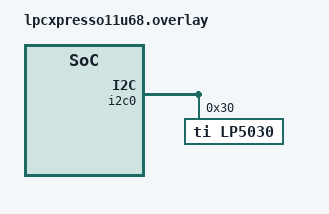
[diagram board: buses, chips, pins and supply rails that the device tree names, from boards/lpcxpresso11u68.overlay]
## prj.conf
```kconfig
CONFIG_LOG=y

CONFIG_I2C=y

CONFIG_LED=y
CONFIG_LP50XX=y
```

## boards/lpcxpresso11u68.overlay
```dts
/*
 * Copyright (c) 2020 Seagate Technology LLC
 *
 * SPDX-License-Identifier: Apache-2.0
 */

#include <zephyr/dt-bindings/led/led.h>

&i2c0 {
	/* TI LP5030 LED controller connected to I2C0. */
	lp5030@30 {
		compatible = "ti,lp5030", "ti,lp50xx";
		reg = <0x30>;
		label = "LP5030";

		led_0 {
			label = "LED LP5030 0";
			index = <0>;
			color-mapping =
				<LED_COLOR_ID_RED>,
				<LED_COLOR_ID_GREEN>,
				<LED_COLOR_ID_BLUE>;
		};
		led_1 {
			label = "LED LP5030 1";
			index = <1>;
			color-mapping =
				<LED_COLOR_ID_RED>,
				<LED_COLOR_ID_GREEN>,
				<LED_COLOR_ID_BLUE>;
		};
		led_2 {
			label = "LED LP5030 2";
			index = <2>;
			color-mapping =
				<LED_COLOR_ID_RED>,
				<LED_COLOR_ID_GREEN>,
				<LED_COLOR_ID_BLUE>;
		};
		led_3 {
			label = "LED LP5030 3";
			index = <3>;
			color-mapping =
				<LED_COLOR_ID_RED>,
				<LED_COLOR_ID_GREEN>,
				<LED_COLOR_ID_BLUE>;
		};
		led_4 {
			label = "LED LP5030 4";
			index = <4>;
			color-mapping =
				<LED_COLOR_ID_RED>,
				<LED_COLOR_ID_GREEN>,
				<LED_COLOR_ID_BLUE>;
		};
		led_5 {
			label = "LED LP5030 5";
			index = <5>;
			color-mapping =
				<LED_COLOR_ID_RED>,
				<LED_COLOR_ID_GREEN>,
				<LED_COLOR_ID_BLUE>;
		};
		led_6 {
			label = "LED LP5030 6";
			index = <6>;
			color-mapping =
				<LED_COLOR_ID_RED>,
				<LED_COLOR_ID_GREEN>,
				<LED_COLOR_ID_BLUE>;
		};
		led_7 {
			label = "LED LP5030 7";
			index = <7>;
			color-mapping =
				<LED_COLOR_ID_RED>,
				<LED_COLOR_ID_GREEN>,
				<LED_COLOR_ID_BLUE>;
		};
		led_8 {
			label = "LED LP5030 8";
			index = <8>;
			color-mapping =
				<LED_COLOR_ID_RED>,
				<LED_COLOR_ID_GREEN>,
				<LED_COLOR_ID_BLUE>;
		};
		led_9 {
			label = "LED LP5030 9";
			index = <9>;
			color-mapping =
				<LED_COLOR_ID_RED>,
				<LED_COLOR_ID_GREEN>,
				<LED_COLOR_ID_BLUE>;
		};
	};
};
```

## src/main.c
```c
/*
 * Copyright (c) 2020 Seagate Technology LLC
 *
 * SPDX-License-Identifier: Apache-2.0
 */

#include <zephyr/device.h>
#include <errno.h>
#include <zephyr/drivers/led.h>
#include <zephyr/drivers/led/lp50xx.h>
#include <zephyr/sys/util.h>
#include <zephyr/zephyr.h>

#define LOG_LEVEL CONFIG_LOG_DEFAULT_LEVEL
#include <zephyr/logging/log.h>
LOG_MODULE_REGISTER(main);

#define MAX_BRIGHTNESS	100

#define SLEEP_DELAY_MS	1000
#define FADE_DELAY_MS	10

#define FADE_DELAY	K_MSEC(FADE_DELAY_MS)
#define SLEEP_DELAY	K_MSEC(SLEEP_DELAY_MS)

/*
 * The following colors are shown in the given order.
 */
static uint8_t colors[][3] = {
	{ 0xFF, 0x00, 0x00 }, /* Red    */
	{ 0x00, 0xFF, 0x00 }, /* Green  */
	{ 0x00, 0x00, 0xFF }, /* Blue   */
	{ 0xFF, 0xFF, 0xFF }, /* White  */
	{ 0xFF, 0xFF, 0x00 }, /* Yellow */
	{ 0xFF, 0x00, 0xFF }, /* Purple */
	{ 0x00, 0xFF, 0xFF }, /* Cyan   */
	{ 0xF4, 0x79, 0x20 }, /* Orange */
};

/**
 * @brief Run tests on a single LED using the LED-based API syscalls.
 *
 * @param lp50xx_dev LP50XX LED controller device.
 * @param led Number of the LED to test.
 */
static int run_led_test(const struct device *lp50xx_dev, enum lp50xx_chips chip,uint8_t led)
{
	uint8_t idx;
	int err;

	LOG_INF("Testing LED %d (LED API)", led);

	for (idx = 0; idx < ARRAY_SIZE(colors); idx++) {
		uint16_t level;

		/* Update LED color. */
		err = led_set_color(lp50xx_dev, led, 3, colors[idx]);
		if (err < 0) {
			LOG_ERR("Failed to set LED %d color to "
				"%02x:%02x:%02x, err=%d", led,
				colors[idx][0], colors[idx][1],
				colors[idx][2], err);
			return err;
		}
		k_sleep(SLEEP_DELAY);

		/* Turn LED on. */
		err = led_on(lp50xx_dev, led);
		if (err < 0) {
			LOG_ERR("Failed to turn LED %d on, err=%d", led, err);
			return err;
		}
		k_sleep(SLEEP_DELAY);

		/* Turn LED off. */
		err = led_off(lp50xx_dev, led);
		if (err < 0) {
			LOG_ERR("Failed to turn LED %d off, err=%d", led, err);
			return err;
		}
		k_sleep(SLEEP_DELAY);

		/* Set LED brightness gradually to the maximum level. */
		for (level = 0; level <= MAX_BRIGHTNESS; level++) {
			err = led_set_brightness(lp50xx_dev, led, level);
			if (err < 0) {
				LOG_ERR("Failed to set LED %d brightness to %d"
					", err=%d\n", led, level, err);
				return err;
			}
			k_sleep(FADE_DELAY);
		}
		k_sleep(SLEEP_DELAY);

		/* Turn LED off. */
		err = led_off(lp50xx_dev, led);
		if (err < 0) {
			LOG_ERR("Failed to turn LED %d off, err=%d", led, err);
			return err;
		}
		k_sleep(SLEEP_DELAY);
	}

	return 0;
}

/**
 * @brief Run tests on all the LEDs using the channel-based API syscalls.
 *
 * @param lp50xx_dev LP50XX LED controller device.
 */
static int run_channel_test(const struct device *lp50xx_dev, enum lp50xx_chips chip)
{
	uint8_t idx;
	uint8_t buffer[LP50XX_COLORS_PER_LED * LP50XX_MAX_LEDS(chip)];
	int err;

	LOG_INF("Testing all LEDs (channel API)");

	for (idx = 0; idx < ARRAY_SIZE(colors); idx++) {
		uint8_t led;
		uint16_t level;

		/* Update LEDs colors. */
		for (led = 0; led < LP50XX_MAX_LEDS(chip); led++) {
			uint8_t *col = &buffer[led * 3];

			col[0] = colors[idx][0];
			col[1] = colors[idx][1];
			col[2] = colors[idx][2];
		}
		err = led_write_channels(lp50xx_dev, LP50XX_LED_COL1_CHAN(chip, 0),
					 LP50XX_COLORS_PER_LED *
					 LP50XX_MAX_LEDS(chip),
					 buffer);
		if (err < 0) {
			LOG_ERR("Failed to write channels, start=%d num=%d"
				" err=%d\n", LP50XX_LED_COL1_CHAN(0),
				LP50XX_COLORS_PER_LED * LP50XX_MAX_LEDS(chip), err);
			return err;
		}
		k_sleep(SLEEP_DELAY);

		/* Turn LEDs on. */
		for (led = 0; led < LP50XX_MAX_LEDS(chip); led++) {
			buffer[led] = MAX_BRIGHTNESS;
		}
		err = led_write_channels(lp50xx_dev,
					 LP50XX_LED_BRIGHT_CHAN(0),
					 LP50XX_MAX_LEDS, buffer);
		if (err < 0) {
			LOG_ERR("Failed to write channels, start=%d num=%d"
				" err=%d\n", LP50XX_LED_BRIGHT_CHAN(0),
				LP50XX_MAX_LEDS(chip), err);
			return err;
		}
		k_sleep(SLEEP_DELAY);

		/* Turn LEDs off. */
		for (led = 0; led < LP50XX_MAX_LEDS; led++) {
			buffer[led] = 0;
		}
		err = led_write_channels(lp50xx_dev,
					 LP50XX_LED_BRIGHT_CHAN(0),
					 LP50XX_MAX_LEDS(chip), buffer);
		if (err < 0) {
			LOG_ERR("Failed to write channels, start=%d num=%d"
				" err=%d\n", LP50XX_LED_BRIGHT_CHAN(0),
				LP50XX_MAX_LEDS(chip), err);
			return err;
		}
		k_sleep(SLEEP_DELAY);

		/* Set LEDs brightnesses gradually to the maximum level. */
		for (level = 0; level <= MAX_BRIGHTNESS; level++) {
			for (led = 0; led < LP50XX_MAX_LEDS(chip); led++) {
				buffer[led] = level;
			}
			err = led_write_channels(lp50xx_dev,
					LP50XX_LED_BRIGHT_CHAN(0),
					LP50XX_MAX_LEDS(chip), buffer);
			if (err < 0) {
				LOG_ERR("Failed to write channels, start=%d"
					" num=%d err=%d\n",
					LP50XX_LED_BRIGHT_CHAN(0),
					LP50XX_MAX_LEDS(chip), err);
				return err;
			}
			k_sleep(FADE_DELAY);
		}
		k_sleep(SLEEP_DELAY);

		/* Turn LEDs off. */
		for (led = 0; led < LP50XX_MAX_LEDS(chip); led++) {
			buffer[led] = 0;
		}
		err = led_write_channels(lp50xx_dev,
					 LP50XX_LED_BRIGHT_CHAN(0),
					 LP50XX_MAX_LEDS(chip), buffer);
		if (err < 0) {
			LOG_ERR("Failed to write channels, start=%d "
				"num=%d err=%d\n", LP50XX_LED_BRIGHT_CHAN(0),
				LP50XX_MAX_LEDS(chip), err);
			return err;
		}
		k_sleep(SLEEP_DELAY);
	}

	return 0;
}

void main(void)
{
	const struct device *lp50xx_dev = DEVICE_DT_GET_ANY(ti_lp50xx);

	int err;
	uint8_t led;
	uint8_t num_leds = 0;
	enum lp50xx_chips chip;

	if (!lp50xx_dev) {
		LOG_ERR("No device with compatible ti,lp50xx found");
		return;
	} else if (!device_is_ready(lp50xx_dev)) {
		LOG_ERR("LED controller %s is not ready", lp50xx_dev->name);
		return;
	}
	LOG_INF("Found LED controller %s", lp50xx_dev->name);

	if (DT_HAS_COMPAT_STATUS_OKAY(ti_lp5009)) {
		chip = LP5009;
	} else if (DT_HAS_COMPAT_STATUS_OKAY(ti_lp5012)) {
		chip = LP5012;
	} else if (DT_HAS_COMPAT_STATUS_OKAY(ti_lp5030)) {
		chip = LP5030;
	} else if (DT_HAS_COMPAT_STATUS_OKAY(ti_lp5036)) {
		chip = LP5036;
	} else {
		LOG_ERR("No proper compatible chip version!");
		return;
	}

	for (led = 0; led < LP50XX_MAX_LEDS(chip); led++) {
		int col;
		const struct led_info *info;

		err = led_get_info(lp50xx_dev, led, &info);
		if (err < 0) {
			LOG_DBG("Failed to get information for LED %d (err=%d)",
				led, err);
			break;
		}

		/* Display LED information. */
		printk("Found LED %d", led);
		if (info->label)
			printk(" - %s", info->label);
		printk(" - index:%d", info->index);
		printk(" - %d colors", info->num_colors);
		if (!info->color_mapping) {
			continue;
		}
		printk(" - %d", info->color_mapping[0]);
		for (col = 1; col < info->num_colors; col++)
			printk(":%d", info->color_mapping[col]);
		printk("\n");
	}
	num_leds = led;
	if (!num_leds) {
		LOG_ERR("No LEDs found");
		return;
	}

	do {
		err = run_channel_test(lp50xx_dev, chip);
		if (err) {
			return;
		}
		for (led = 0; led < num_leds; led++) {
			err = run_led_test(lp50xx_dev, chip, led);
			if (err) {
				return;
			}
		}
	} while (true);
}
```
